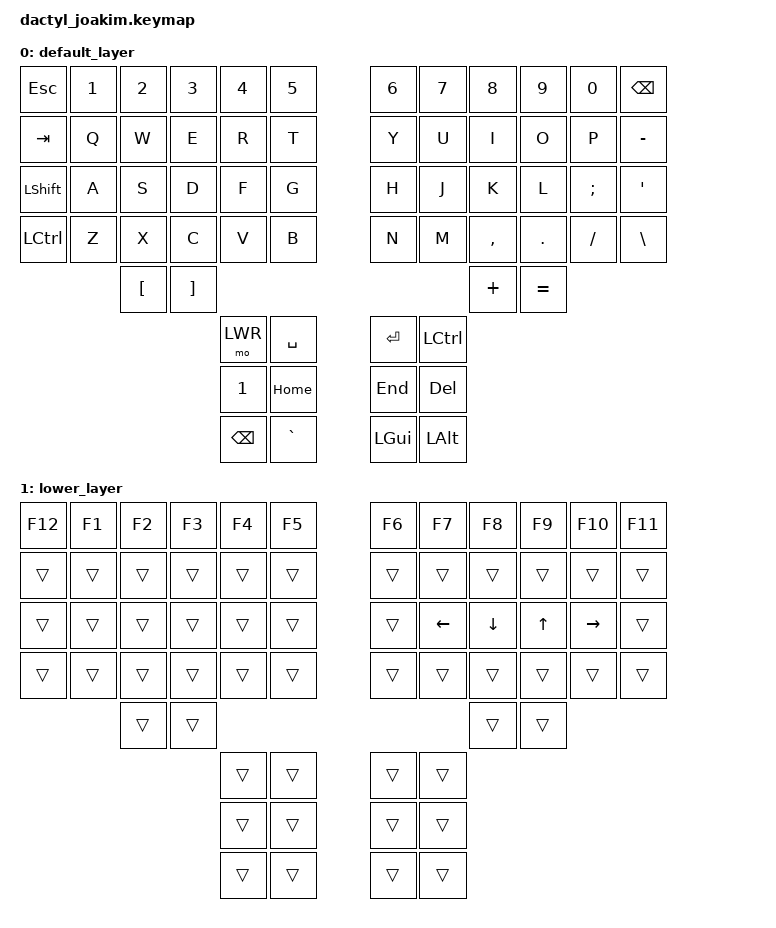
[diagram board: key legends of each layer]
#include <behaviors.dtsi>
#include <dt-bindings/zmk/keys.h>
#include <dt-bindings/zmk/bt.h>
#include <dt-bindings/zmk/outputs.h>

#define DEFAULT 0
#define LWR 1

/ {
    keymap {
        compatible = "zmk,keymap";

        default_layer {
            bindings = <
                &kp ESC   &kp N1 &kp N2 &kp N3 &kp N4 &kp N5              &kp N6 &kp N7 &kp N8    &kp N9  &kp N0   &kp BSPC
                &kp TAB   &kp Q  &kp W  &kp E  &kp R  &kp T               &kp Y  &kp U  &kp I     &kp O   &kp P    &kp MINUS
                &kp LSHFT &kp A  &kp S  &kp D  &kp F  &kp G               &kp H  &kp J  &kp K     &kp L   &kp SEMI &kp SQT
                &kp LCTRL &kp Z  &kp X  &kp C  &kp V  &kp B               &kp N  &kp M  &kp COMMA &kp DOT &kp FSLH &kp BSLH
                                 &kp LBKT &kp RBKT                                      &kp PLUS &kp EQUAL
                                            &mo LWR  &kp SPACE            &kp RET  &kp LCTRL
                                            &kp N1   &kp HOME             &kp END  &kp DEL
                                            &kp BSPC &kp GRAVE            &kp LGUI &kp LALT
            >;
        };

        lower_layer {
            bindings = <
                &kp F12 &kp F1 &kp F2 &kp F3 &kp F4 &kp F5                &kp F6 &kp F7   &kp F8   &kp F9 &kp F10   &kp F11
                &trans  &trans &trans &trans &trans &trans                &trans &trans   &trans   &trans &trans    &trans
                &trans  &trans &trans &trans &trans &trans                &trans &kp LEFT &kp DOWN &kp UP &kp RIGHT &trans
                &trans  &trans &trans &trans &trans &trans                &trans &trans   &trans   &trans &trans    &trans
                               &trans &trans                                              &trans &trans
                                             &trans &trans                &trans &trans
                                             &trans &trans                &trans &trans
                                             &trans &trans                &trans &trans
            >;
        };
    };
};
